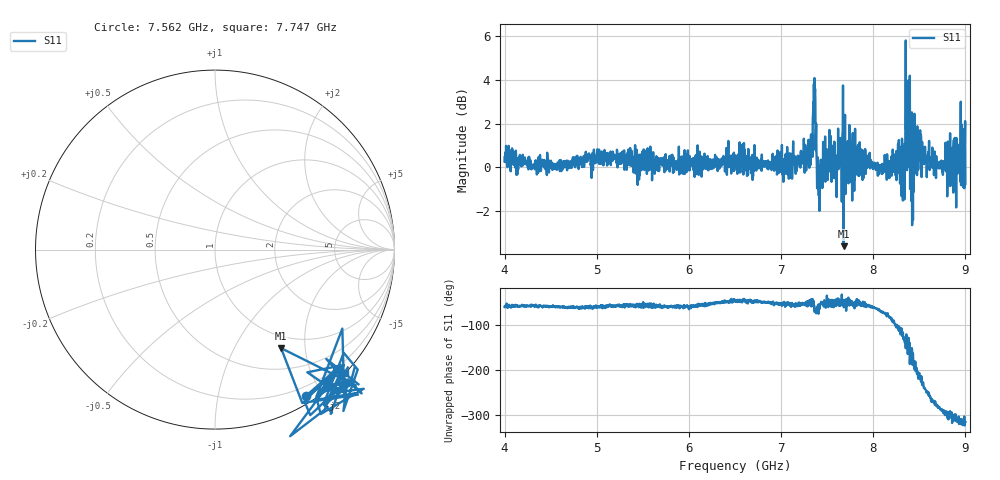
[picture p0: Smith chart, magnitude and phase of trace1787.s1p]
! Created with skrf 1.8.0 (http://scikit-rf.org).
# Hz S RI R 50.0
!freq ReS11 ImS11
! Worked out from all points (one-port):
!   1601 points, 4 GHz to 9 GHz, reference 50 ohm
!   lowest |S11| = -3.6 dB at 7.678 GHz (marker M1), VSWR 4.90, Z = 40.2 - j78.4 ohm
!   |S11| at or under -10 dB: nowhere
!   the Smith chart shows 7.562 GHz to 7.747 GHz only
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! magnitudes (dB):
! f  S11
! 4 GHz  0.3
! 4.625 GHz  -0.1
! 5.25 GHz  0.2
! 5.875 GHz  0.0
! 6.5 GHz  0.2
! 7.125 GHz  0.5
! 7.294 GHz  0.2
! 7.319 GHz  0.1
! 7.356 GHz  3.8
! 7.381 GHz  2.0
! 7.4 GHz  -0.2
! 7.428 GHz  -0.4
! 7.512 GHz  0.5
! 7.588 GHz  0.0
! 7.65 GHz  1.3
! 7.678 GHz  -3.6
! 7.75 GHz  -0.1
! 7.844 GHz  0.5
! 8.097 GHz  0.2
! 8.259 GHz  0.2
! 8.316 GHz  0.7
! 8.334 GHz  0.9
! 8.375 GHz  0.7
! 8.425 GHz  -0.9
! 8.497 GHz  0.8
! 8.738 GHz  0.1
! 8.972 GHz  0.4
! 9 GHz  -0.8
